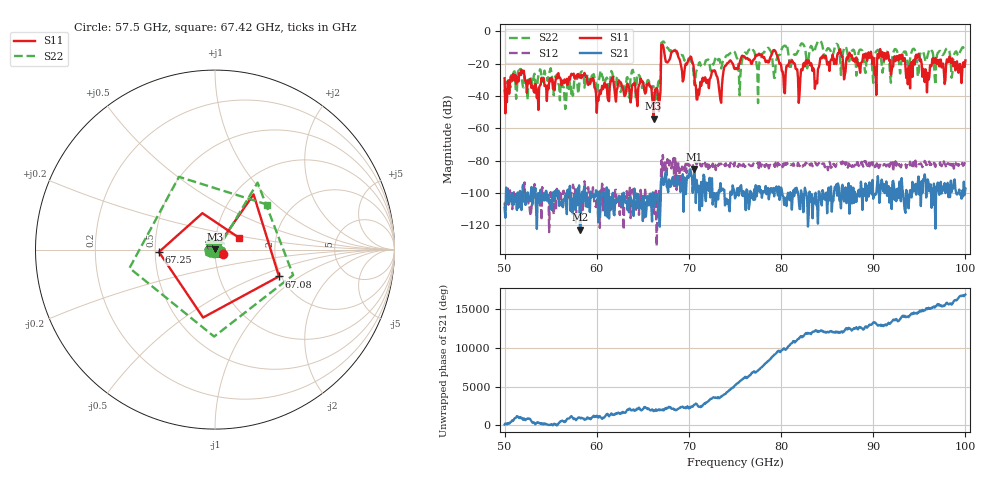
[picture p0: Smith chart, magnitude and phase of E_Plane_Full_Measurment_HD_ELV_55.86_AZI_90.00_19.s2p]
! 11/26/2026 3:24:14 PM
! C:\ANRITSUVNA\TEMP\TEMP.S2P
! CHANNEL.1
! TR.MEASUREMENT
! RAW.DATA
# HZ S RI R 50.0
! FREQ.HZ  S11RE  S11IM  S21RE  S21IM  S12RE  S12IM  S22RE  S22IM
!; PortSelection: Port_12
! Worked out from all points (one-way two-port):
!   601 points, 50 GHz to 100 GHz, reference 50 ohm
!   highest |S21| = -85.24 dB at 70.58 GHz (marker M1); lowest = -122.8 dB at 58.17 GHz (marker M2)
!   lowest |S11| = -54.0 dB at 66.17 GHz (marker M3), VSWR 1.00, Z = 50.1 + j0.145 ohm
!   |S11| at or under -10 dB: start of sweep to 67 GHz; 67.25 GHz to end of sweep
!   |S22| runs from -48.1 to -5.6 dB; largest |S21 - S12| = 0.00017
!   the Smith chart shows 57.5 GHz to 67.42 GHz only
!   S11 on the Smith chart (normalised r, x): 57.5 GHz: 1.09, -0.05; 67.08 GHz: 1.95, -0.69; 67.25 GHz: 0.52, -0.02; 67.42 GHz: 1.29, +0.18
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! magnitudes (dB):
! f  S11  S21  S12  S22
! 50 GHz  -29.0  -109.3  -106.0  -35.8
! 51.67 GHz  -26.3  -98.8  -105.5  -23.3
! 57.5 GHz  -26.2  -104.0  -97.0  -34.7
! 58.17 GHz  -27.4  -122.8  -103.8  -28.9
! 58.42 GHz  -27.2  -99.4  -104.6  -24.7
! 60.17 GHz  -42.9  -118.3  -118.2  -30.4
! 66.17 GHz  -54.0  -100.8  -101.7  -34.0
! 66.67 GHz  -41.5  -113.2  -106.9  -31.7
! 67.08 GHz  -8.3  -90.4  -90.2  -6.8
! 67.25 GHz  -10.1  -95.1  -80.2  -6.2
! 67.42 GHz  -16.6  -89.4  -79.5  -8.3
! 70.58 GHz  -27.2  -85.2  -80.6  -33.1
! 73.42 GHz  -42.4  -93.9  -81.9  -19.7
! 75 GHz  -23.3  -103.4  -81.1  -13.0
! 79.25 GHz  -11.5  -102.1  -82.4  -28.8
! 80.25 GHz  -27.8  -102.4  -81.8  -9.3
! 83.42 GHz  -24.5  -115.8  -83.6  -10.8
! 91.67 GHz  -16.7  -95.8  -82.4  -15.2
! 93.75 GHz  -32.7  -101.4  -83.2  -21.3
! 94.83 GHz  -15.0  -93.8  -81.5  -27.9
! 95.83 GHz  -37.8  -93.6  -82.5  -16.5
! 100 GHz  -17.9  -97.4  -83.2  -12.6
